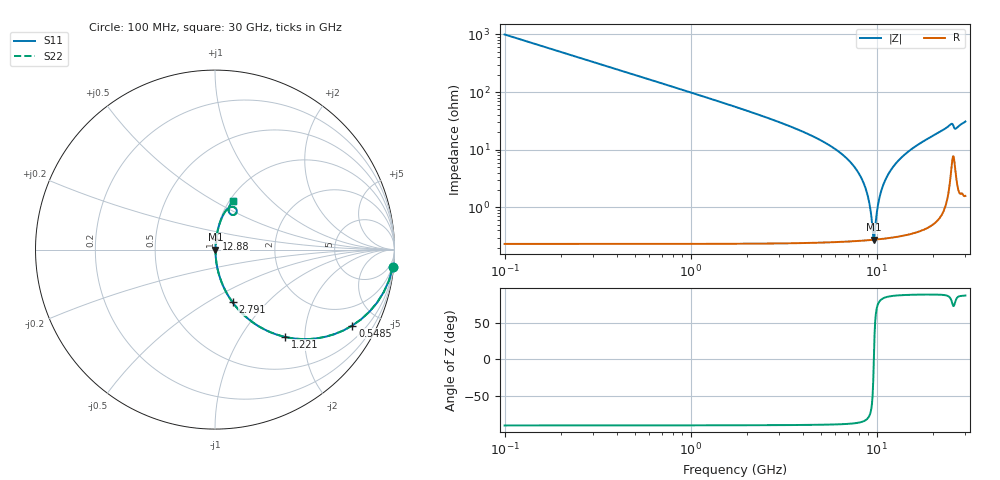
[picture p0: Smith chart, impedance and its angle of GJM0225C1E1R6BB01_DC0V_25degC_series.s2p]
!Murata Part Number: GJM0225C1E1R6BB01
!These Parameters are Measured in Series Mode Connection
!  o--ll--o
!Port1  Port2
!  o------o
!Operation Temp=25[degC], DC Bias Voltage=0[V]
!Freq. Start=100[MHz] Stop=30[GHz], 401[Steps]
!Data Generated on Feb 1, 2023
# Hz S RI R 50
!Freq.(Hz) S11(Real) S11(Imag) S21(Real) S21(Imag) S12(Real) S12(Imag) S22(Real) S22(Imag)
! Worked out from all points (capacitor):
!   401 points, 100 MHz to 30 GHz, reference 50 ohm
!   read as one part in series: C = 1.6 pF near 249.5 MHz
!   lowest |Z| = 276 mohm at 9.668 GHz (marker M1)
!   series resonance near 9.659 GHz, so ESL is about 170 pH
!   S11 on the Smith chart (normalised r, x): 100 MHz: 1, -20; 548.5 MHz: 1.00, -3.62; 1.221 GHz: 1.00, -1.60; 2.791 GHz: 1.00, -0.65; 12.88 GHz: 1.01, +0.12; 30 GHz: 1.03, +0.62
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1e8  0.99 -0.0995  0.01 0.0995  0.01 0.0995  0.99 -0.0995
3.2425e8  0.9036 -0.2948  0.0964 0.2948  0.0964 0.2948  0.9036 -0.2948
5.485e8  0.7654 -0.4231  0.2346 0.4231  0.2346 0.4231  0.7654 -0.4231
1.22125e9  0.3915 -0.4866  0.6085 0.4866  0.6085 0.4866  0.3915 -0.4866
1.894e9  0.2044 -0.401  0.7956 0.401  0.7956 0.401  0.2044 -0.401
2.791e9  0.0982 -0.294  0.9018 0.294  0.9018 0.294  0.0982 -0.294
5.10825e9  0.0217 -0.1372  0.9783 0.1372  0.9783 0.1372  0.0217 -0.1372
7.1265e9  0.00659 -0.0633  0.9934 0.0633  0.9934 0.0633  0.00659 -0.0633
8.3225e9  0.00359 -0.0308  0.9964 0.0308  0.9964 0.0308  0.00359 -0.0308
8.99525e9  0.00291 -0.0147  0.9971 0.0147  0.9971 0.0147  0.00291 -0.0147
9.29425e9  0.00278 -0.00795  0.9972 0.00795  0.9972 0.00795  0.00278 -0.00795
9.5185e9  0.00274 -0.00303  0.9973 0.00303  0.9973 0.00303  0.00274 -0.00303
9.668e9  0.00274 0.00019  0.9973 -0.00019  0.9973 -0.00019  0.00274 0.00019
1.01165e10  0.00287 0.00957  0.9971 -0.00957  0.9971 -0.00957  0.00287 0.00957
1.049025e10  0.00311 0.0171  0.9969 -0.0171  0.9969 -0.0171  0.00311 0.0171
1.108825e10  0.0037 0.0287  0.9963 -0.0287  0.9963 -0.0287  0.0037 0.0287
1.288225e10  0.00677 0.0606  0.9932 -0.0606  0.9932 -0.0606  0.00677 0.0606
1.505e10  0.0126 0.0952  0.9874 -0.0952  0.9874 -0.0952  0.0126 0.0952
2.005825e10  0.034 0.1674  0.966 -0.1674  0.966 -0.1674  0.034 0.1674
2.50665e10  0.0998 0.2378  0.9002 -0.2378  0.9002 -0.2378  0.0998 0.2378
2.6412e10  0.0883 0.1962  0.9117 -0.1962  0.9117 -0.1962  0.0883 0.1962
3e10  0.0984 0.2733  0.9016 -0.2733  0.9016 -0.2733  0.0984 0.2733
